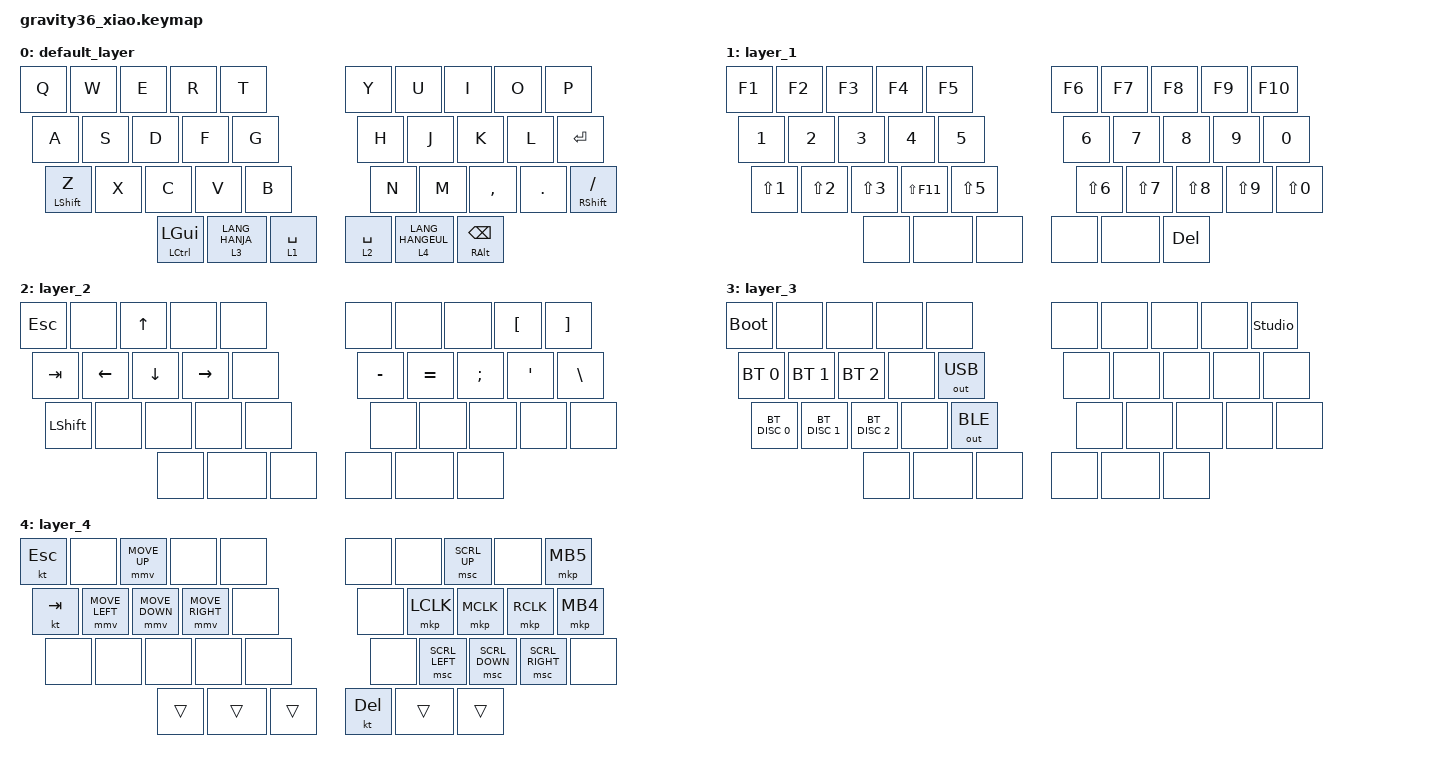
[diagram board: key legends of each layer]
#include <behaviors.dtsi>
#include <dt-bindings/zmk/bt.h>
#include <dt-bindings/zmk/keys.h>
#include <dt-bindings/zmk/outputs.h>
#include <dt-bindings/zmk/pointing.h>

#define TAPPING_TERM_SHORT 150

/ {
    behaviors {
        exlt: exlt {
            compatible = "zmk,behavior-hold-tap";
            #binding-cells = <2>;
            tapping-term-ms = <200>;
            quick-tap-ms = <200>; // これで連続入力が可能に
            flavor = "tap-preferred";
            bindings = <&mo>, <&kp>;
        };

        exmt: exmt {
            compatible = "zmk,behavior-hold-tap";
            #binding-cells = <2>;
            tapping-term-ms = <200>;
            quick-tap-ms = <200>;
            flavor = "tap-preferred";
            bindings = <&kp>, <&kp>;
        };

        bt_clr_safe: bt_clr_safe {
            compatible = "zmk,behavior-hold-tap";
            #binding-cells = <2>;
            flavor = "hold-preferred";   // 長押しを最優先する設定
            tapping-term-ms = <3000>;    // 3000ミリ秒押し続けないとホールド判定にならない
            bindings = <&bt>, <&none>;

            // ホールド時：&bt  / タップ時：何もしない (&none)
        };

        td_p_del: td_p_del {
            compatible = "zmk,behavior-tap-dance";
            label = "TD_P_DEL";
            #binding-cells = <0>;
            bindings = <&kp P>, <&kp DELETE>;
        };
    };

    combos {
        compatible = "zmk,combos";

        combo_bt_clr_3s {
            timeout-ms = <100>;          // 3つのキーを同時に認識するための猶予時間（少し広めの100ms）
            key-positions = <24 4 22>;   // ★ B (24), T (4), C (22)
            bindings = <&bt_clr_safe BT_CLR 0>; // 3秒長押しで BT_CLR を発動
            // 押し込んでいる間、QやWなどの通常文字が裏で連打されるのを防ぐ設定

            slow-release;
        };
    };

    keymap {
        compatible = "zmk,keymap";

        default_layer {
            bindings = <
&kp Q             &kp W             &kp E          &kp R          &kp T               &kp Y                 &kp U  &kp I      &kp O    &kp P
&kp A             &kp S             &kp D          &kp F          &kp G               &kp H                 &kp J  &kp K      &kp L    &kp ENTER
&mt LSHFT Z       &kp X             &kp C          &kp V          &kp B               &kp N                 &kp M  &kp COMMA  &kp DOT  &mt RSHFT SLASH
&exmt LCTRL LGUI  &lt 3 LANG_HANJA  &exlt 1 SPACE  &exlt 2 SPACE  &lt 4 LANG_HANGEUL  &exmt RALT BACKSPACE
            >;
        };

        // レイヤー1: 左SPACE長押し時に有効化（数字キーやファンクションキーなど）

        layer_1 {
            bindings = <
&kp F1            &kp F2            &kp F3            &kp F4        &kp F5      &kp F6            &kp F7      &kp F8      &kp F9      &kp F10
&kp NUMBER_1      &kp N2            &kp NUMBER_3      &kp NUMBER_4  &kp N5      &kp NUMBER_6      &kp N7      &kp N8      &kp N9      &kp N0
&kp LS(NUMBER_1)  &kp LS(NUMBER_2)  &kp LS(NUMBER_3)  &kp LS(F11)   &kp LS(N5)  &kp LS(NUMBER_6)  &kp LS(N7)  &kp LS(N8)  &kp LS(N9)  &kp LS(N0)
&none             &none             &none             &none         &none       &kp DEL
            >;
        };

        // レイヤー2: 右Space長押し時に有効化（カーソル操作と記号）

        layer_2 {
            bindings = <
&kp ESCAPE      &none     &kp UP    &none      &none  &none      &none      &none     &kp LBKT  &kp RBKT
&kp TAB         &kp LEFT  &kp DOWN  &kp RIGHT  &none  &kp MINUS  &kp EQUAL  &kp SEMI  &kp SQT   &kp BACKSLASH
&kp LEFT_SHIFT  &none     &none     &none      &none  &none      &none      &none     &none     &none
&none           &none     &none     &none      &none  &none
            >;
        };

        // レイヤー3: 無変換を長押し時に有効化（ブートローダー起動やBluetooth操作など）

        layer_3 {
            bindings = <
&bootloader    &none          &none          &none  &none         &none  &none  &none  &none  &studio_unlock
&bt BT_SEL 0   &bt BT_SEL 1   &bt BT_SEL 2   &none  &out OUT_USB  &none  &none  &none  &none  &none
&bt BT_DISC 0  &bt BT_DISC 1  &bt BT_DISC 2  &none  &out OUT_BLE  &none  &none  &none  &none  &none
&none          &none          &none          &none  &none         &none
            >;
        };

        //　レイヤー4:　変換を長押し時に有効化（マウス操作）

        layer_4 {
            bindings = <
&kt ESC  &none           &mmv MOVE_UP    &none            &none   &none   &none           &msc SCRL_UP    &none            &mkp MB5
&kt TAB  &mmv MOVE_LEFT  &mmv MOVE_DOWN  &mmv MOVE_RIGHT  &none   &none   &mkp LCLK       &mkp MCLK       &mkp RCLK        &mkp MB4
&none    &none           &none           &none            &none   &none   &msc SCRL_LEFT  &msc SCRL_DOWN  &msc SCRL_RIGHT  &none
&trans   &trans          &trans          &kt DELETE       &trans  &trans
            >;
        };
    };
};
